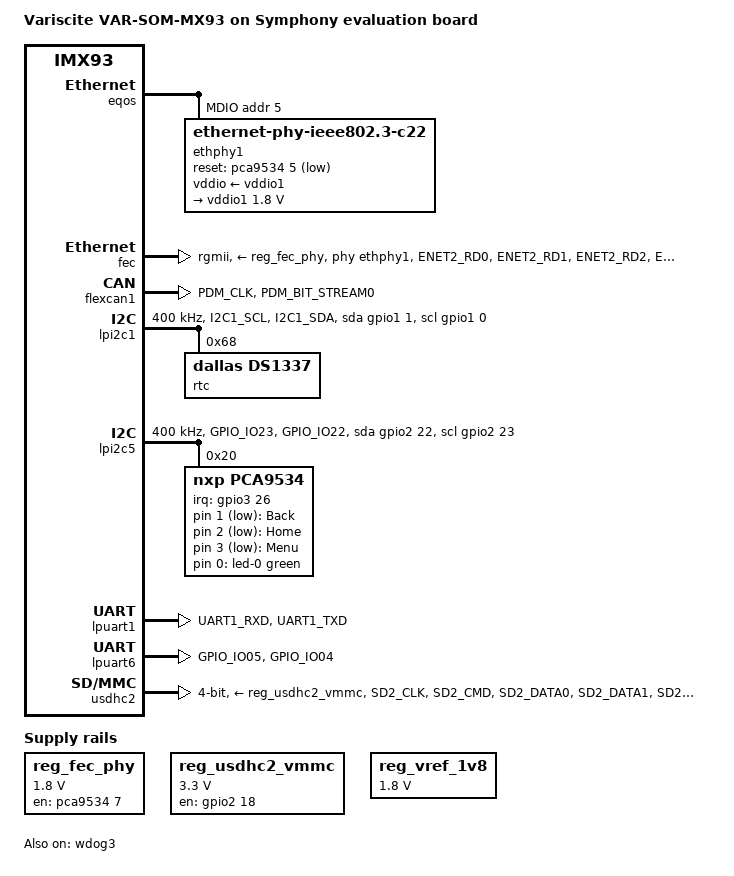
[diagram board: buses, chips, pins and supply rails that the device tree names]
// SPDX-License-Identifier: (GPL-2.0+ OR MIT)
/*
 * Copyright 2021 NXP
 * Copyright 2023 Variscite Ltd.
 */

/dts-v1/;

#include <dt-bindings/leds/common.h>
#include "imx93-var-som.dtsi"

/{
	model = "Variscite VAR-SOM-MX93 on Symphony evaluation board";
	compatible = "variscite,var-som-mx93-symphony",
		     "variscite,var-som-mx93", "fsl,imx93";

	aliases {
		ethernet0 = &eqos;
		ethernet1 = &fec;
		gpio0 = &gpio1;
		gpio1 = &gpio2;
		gpio2 = &gpio3;
		i2c0 = &lpi2c1;
		i2c1 = &lpi2c2;
		i2c2 = &lpi2c3;
		i2c3 = &lpi2c4;
		i2c4 = &lpi2c5;
		mmc0 = &usdhc1;
		mmc1 = &usdhc2;
		serial0 = &lpuart1;
		serial1 = &lpuart2;
		serial2 = &lpuart3;
		serial3 = &lpuart4;
		serial4 = &lpuart5;
		serial5 = &lpuart6;
	};


	chosen {
		stdout-path = &lpuart1;
	};

	/*
	 * Needed only for Symphony <= v1.5
	 */
	reg_fec_phy: regulator-fec-phy {
		compatible = "regulator-fixed";
		regulator-name = "fec-phy";
		regulator-min-microvolt = <1800000>;
		regulator-max-microvolt = <1800000>;
		regulator-enable-ramp-delay = <20000>;
		gpio = <&pca9534 7 GPIO_ACTIVE_HIGH>;
		enable-active-high;
		regulator-always-on;
	};

	reg_usdhc2_vmmc: regulator-usdhc2 {
		compatible = "regulator-fixed";
		pinctrl-names = "default";
		pinctrl-0 = <&pinctrl_reg_usdhc2_vmmc>;
		regulator-name = "VSD_3V3";
		regulator-min-microvolt = <3300000>;
		regulator-max-microvolt = <3300000>;
		gpio = <&gpio2 18 GPIO_ACTIVE_HIGH>;
		off-on-delay-us = <20000>;
		enable-active-high;
	};

	reg_vref_1v8: regulator-adc-vref {
		compatible = "regulator-fixed";
		regulator-name = "vref_1v8";
		regulator-min-microvolt = <1800000>;
		regulator-max-microvolt = <1800000>;
	};

	reserved-memory {
		#address-cells = <2>;
		#size-cells = <2>;
		ranges;

		ethosu_mem: ethosu-region@88000000 {
			compatible = "shared-dma-pool";
			reusable;
			reg = <0x0 0x88000000 0x0 0x8000000>;
		};

		vdev0vring0: vdev0vring0@87ee0000 {
			reg = <0 0x87ee0000 0 0x8000>;
			no-map;
		};

		vdev0vring1: vdev0vring1@87ee8000 {
			reg = <0 0x87ee8000 0 0x8000>;
			no-map;
		};

		vdev1vring0: vdev1vring0@87ef0000 {
			reg = <0 0x87ef0000 0 0x8000>;
			no-map;
		};

		vdev1vring1: vdev1vring1@87ef8000 {
			reg = <0 0x87ef8000 0 0x8000>;
			no-map;
		};

		rsc_table: rsc-table@2021f000 {
			reg = <0 0x2021f000 0 0x1000>;
			no-map;
		};

		vdevbuffer: vdevbuffer@87f00000 {
			compatible = "shared-dma-pool";
			reg = <0 0x87f00000 0 0x100000>;
			no-map;
		};

		ele_reserved: ele-reserved@87de0000 {
			compatible = "shared-dma-pool";
			reg = <0 0x87de0000 0 0x100000>;
			no-map;
		};
	};

	gpio-keys {
		compatible = "gpio-keys";

		key-back {
			label = "Back";
			gpios = <&pca9534 1 GPIO_ACTIVE_LOW>;
			linux,code = <KEY_BACK>;
		};

		key-home {
			label = "Home";
			gpios = <&pca9534 2 GPIO_ACTIVE_LOW>;
			linux,code = <KEY_HOME>;
		};

		key-menu {
			label = "Menu";
			gpios = <&pca9534 3 GPIO_ACTIVE_LOW>;
			linux,code = <KEY_MENU>;
		};
	};

	leds {
		compatible = "gpio-leds";

		led-0 {
			function = LED_FUNCTION_STATUS;
			color = <LED_COLOR_ID_GREEN>;
			gpios = <&pca9534 0 GPIO_ACTIVE_HIGH>;
			linux,default-trigger = "heartbeat";
		};
	};
};

/* Use external instead of internal RTC*/
&bbnsm_rtc {
	status = "disabled";
};

&eqos {
	mdio {
		ethphy1: ethernet-phy@5 {
			compatible = "ethernet-phy-ieee802.3-c22";
			reg = <5>;
			qca,disable-smarteee;
			eee-broken-1000t;
			reset-gpios = <&pca9534 5 GPIO_ACTIVE_LOW>;
			reset-assert-us = <10000>;
			reset-deassert-us = <20000>;
			vddio-supply = <&vddio1>;

			vddio1: vddio-regulator {
				regulator-min-microvolt = <1800000>;
				regulator-max-microvolt = <1800000>;
			};
		};
	};
};

&fec {
	pinctrl-names = "default";
	pinctrl-0 = <&pinctrl_fec>;
	phy-mode = "rgmii";
	phy-handle = <&ethphy1>;
	phy-supply = <&reg_fec_phy>;
	status = "okay";
};

&flexcan1 {
	pinctrl-names = "default";
	pinctrl-0 = <&pinctrl_flexcan1>;
	status = "okay";
};

&lpi2c1 {
	clock-frequency = <400000>;
	pinctrl-names = "default", "sleep", "gpio";
	pinctrl-0 = <&pinctrl_lpi2c1>;
	pinctrl-1 = <&pinctrl_lpi2c1_gpio>;
	pinctrl-2 = <&pinctrl_lpi2c1_gpio>;
	scl-gpios = <&gpio1 0 GPIO_ACTIVE_HIGH>;
	sda-gpios = <&gpio1 1 GPIO_ACTIVE_HIGH>;
	status = "okay";

	/* DS1337 RTC module */
	rtc@68 {
		compatible = "dallas,ds1337";
		reg = <0x68>;
	};
};

&lpi2c5 {
	clock-frequency = <400000>;
	pinctrl-names = "default", "sleep", "gpio";
	pinctrl-0 = <&pinctrl_lpi2c5>;
	pinctrl-1 = <&pinctrl_lpi2c5_gpio>;
	pinctrl-2 = <&pinctrl_lpi2c5_gpio>;
	scl-gpios = <&gpio2 23 GPIO_ACTIVE_HIGH>;
	sda-gpios = <&gpio2 22 GPIO_ACTIVE_HIGH>;
	status = "okay";

	pca9534: gpio@20 {
		compatible = "nxp,pca9534";
		reg = <0x20>;
		gpio-controller;
		pinctrl-names = "default";
		pinctrl-0 = <&pinctrl_pca9534>;
		interrupt-parent = <&gpio3>;
		interrupts = <26 IRQ_TYPE_EDGE_FALLING>;
		#gpio-cells = <2>;
		wakeup-source;
	};
};

/* Console */
&lpuart1 {
	pinctrl-names = "default";
	pinctrl-0 = <&pinctrl_uart1>;
	status = "okay";
};

/* J18.7, J18.9 */
&lpuart6 {
	pinctrl-names = "default";
	pinctrl-0 = <&pinctrl_uart6>;
	status = "okay";
};

/* SD */
&usdhc2 {
	pinctrl-names = "default", "state_100mhz", "state_200mhz";
	pinctrl-0 = <&pinctrl_usdhc2>, <&pinctrl_usdhc2_gpio>;
	pinctrl-1 = <&pinctrl_usdhc2>, <&pinctrl_usdhc2_gpio>;
	pinctrl-2 = <&pinctrl_usdhc2>, <&pinctrl_usdhc2_gpio>;
	cd-gpios = <&gpio3 00 GPIO_ACTIVE_LOW>;
	vmmc-supply = <&reg_usdhc2_vmmc>;
	bus-width = <4>;
	status = "okay";
	no-sdio;
	no-mmc;
};

/* Watchdog */
&wdog3 {
	status = "okay";
};

&iomuxc {
	pinctrl_fec: fecgrp {
		fsl,pins = <
			MX93_PAD_ENET2_RD0__ENET1_RGMII_RD0		0x57e
			MX93_PAD_ENET2_RD1__ENET1_RGMII_RD1		0x57e
			MX93_PAD_ENET2_RD2__ENET1_RGMII_RD2		0x57e
			MX93_PAD_ENET2_RD3__ENET1_RGMII_RD3		0x57e
			MX93_PAD_ENET2_RXC__ENET1_RGMII_RXC		0x5fe
			MX93_PAD_ENET2_RX_CTL__ENET1_RGMII_RX_CTL	0x57e
			MX93_PAD_ENET2_TD0__ENET1_RGMII_TD0		0x57e
			MX93_PAD_ENET2_TD1__ENET1_RGMII_TD1		0x57e
			MX93_PAD_ENET2_TD2__ENET1_RGMII_TD2		0x57e
			MX93_PAD_ENET2_TD3__ENET1_RGMII_TD3		0x57e
			MX93_PAD_ENET2_TXC__ENET1_RGMII_TXC		0x5fe
			MX93_PAD_ENET2_TX_CTL__ENET1_RGMII_TX_CTL	0x57e
		>;
	};

	pinctrl_flexcan1: flexcan1grp {
		fsl,pins = <
			MX93_PAD_PDM_CLK__CAN1_TX                       0x139e
			MX93_PAD_PDM_BIT_STREAM0__CAN1_RX               0x139e
		>;
	};

	pinctrl_lpi2c1: lpi2c1grp {
		fsl,pins = <
			MX93_PAD_I2C1_SCL__LPI2C1_SCL			0x40000b9e
			MX93_PAD_I2C1_SDA__LPI2C1_SDA			0x40000b9e
		>;
	};

	pinctrl_lpi2c1_gpio: lpi2c1gpiogrp {
		fsl,pins = <
			MX93_PAD_I2C1_SCL__GPIO1_IO00			0x31e
			MX93_PAD_I2C1_SDA__GPIO1_IO01			0x31e
		>;
	};

	pinctrl_lpi2c5: lpi2c5grp {
		fsl,pins = <
			MX93_PAD_GPIO_IO23__LPI2C5_SCL			0x40000b9e
			MX93_PAD_GPIO_IO22__LPI2C5_SDA			0x40000b9e
		>;
	};

	pinctrl_lpi2c5_gpio: lpi2c5gpiogrp {
		fsl,pins = <
			MX93_PAD_GPIO_IO23__GPIO2_IO23			0x31e
			MX93_PAD_GPIO_IO22__GPIO2_IO22			0x31e
		>;
	};

	pinctrl_pca9534: pca9534grp {
		fsl,pins = <
			MX93_PAD_CCM_CLKO1__GPIO3_IO26		0x31e
		>;
	};

	pinctrl_uart1: uart1grp {
		fsl,pins = <
			MX93_PAD_UART1_RXD__LPUART1_RX			0x31e
			MX93_PAD_UART1_TXD__LPUART1_TX			0x31e
		>;
	};

	pinctrl_uart6: uart6grp {
		fsl,pins = <
			MX93_PAD_GPIO_IO05__LPUART6_RX			0x31e
			MX93_PAD_GPIO_IO04__LPUART6_TX			0x31e
		>;
	};

	pinctrl_reg_usdhc2_vmmc: regusdhc2vmmcgrp {
		fsl,pins = <
			MX93_PAD_GPIO_IO18__GPIO2_IO18		0x31e
		>;
	};

	pinctrl_usdhc2: usdhc2grp {
		fsl,pins = <
			MX93_PAD_SD2_CLK__USDHC2_CLK		0x15fe
			MX93_PAD_SD2_CMD__USDHC2_CMD		0x13fe
			MX93_PAD_SD2_DATA0__USDHC2_DATA0	0x13fe
			MX93_PAD_SD2_DATA1__USDHC2_DATA1	0x13fe
			MX93_PAD_SD2_DATA2__USDHC2_DATA2	0x13fe
			MX93_PAD_SD2_DATA3__USDHC2_DATA3	0x13fe
			MX93_PAD_SD2_VSELECT__USDHC2_VSELECT	0x51e
		>;
	};

	pinctrl_usdhc2_gpio: usdhc2gpiogrp {
		fsl,pins = <
			MX93_PAD_SD2_CD_B__GPIO3_IO00		0x31e
		>;
	};
};
